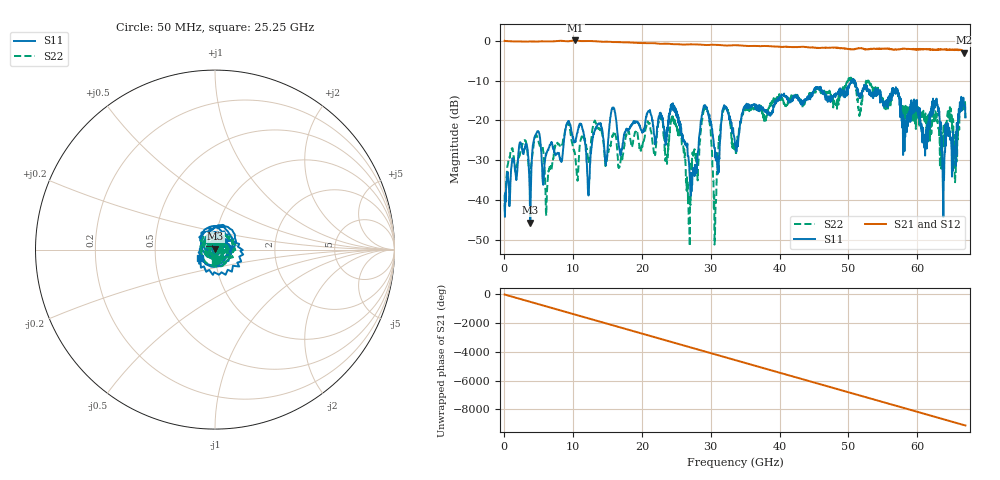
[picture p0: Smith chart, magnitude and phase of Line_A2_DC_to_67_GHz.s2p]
#  HZ  S  MA  R  50.00
! Rohde & Schwarz ZVA67 4Ports - Version 4.11 - 1305.7002k04 SN: 101051
! Date: 2023-05-31 14:24:37
! Measurements: S11 S21 S12 S22
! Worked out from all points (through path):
!   1340 points, 50 MHz to 67 GHz, reference 50 ohm
!   highest |S21| = 0.10 dB at 10.3 GHz (marker M1); lowest = -3.0 dB at 66.8 GHz (marker M2)
!   group delay of S21, straight-line fit = 378 ps
!   lowest |S11| = -45.7 dB at 3.8 GHz (marker M3), VSWR 1.01, Z = 50.1 + j0.511 ohm
!   |S11| at or under -10 dB: start of sweep to 50.4 GHz; 50.40142 GHz to 50.58726 GHz (185.8 MHz wide, 0.368 % of centre); 50.91 GHz to end of sweep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
!   |S22| runs from -51.6 to -9.2 dB; largest |S21 - S12| = 0.3
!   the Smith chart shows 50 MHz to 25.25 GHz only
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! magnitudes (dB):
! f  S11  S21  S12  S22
! 50 MHz  -40.9  0.0  0.0  -38.7
! 2.35 GHz  -25.5  -0.2  -0.2  -27.9
! 3.8 GHz  -45.7  -0.1  -0.2  -33.2
! 4.7 GHz  -23.2  -0.2  -0.2  -23.7
! 6.15 GHz  -28.1  -0.1  -0.1  -40.7
! 10.3 GHz  -25.1  0.1  0.1  -28.7
! 11.25 GHz  -21.5  -0.1  0.0  -24.0
! 12.25 GHz  -38.9  0.0  0.0  -30.4
! 15.8 GHz  -16.8  -0.3  -0.3  -23.8
! 22.4 GHz  -19.4  -0.7  -0.7  -20.6
! 25.45 GHz  -21.3  -0.9  -0.9  -23.0
! 26.8 GHz  -30.0  -0.9  -0.9  -46.0
! 29.15 GHz  -16.2  -1.0  -1.0  -17.2
! 30.55 GHz  -26.9  -1.0  -1.0  -51.2
! 31.9 GHz  -16.6  -1.1  -1.1  -17.3
! 33.55 GHz  -26.2  -1.1  -1.1  -26.5
! 44.7 GHz  -13.2  -1.6  -1.7  -13.7
! 55.85 GHz  -15.1  -2.0  -2.0  -16.3
! 62.7 GHz  -15.8  -2.2  -2.3  -18.7
! 63.75 GHz  -39.7  -2.2  -2.2  -24.6
! 66.8 GHz  -16.0  -3.0  -2.9  -17.1
! 67 GHz  -19.2  -2.8  -2.7  -19.4
